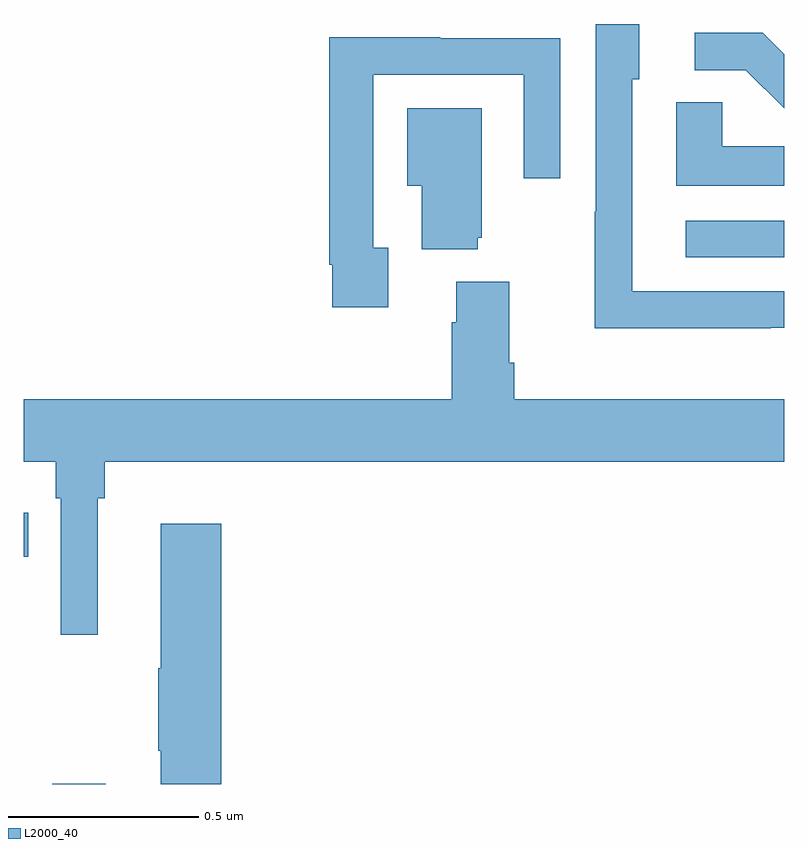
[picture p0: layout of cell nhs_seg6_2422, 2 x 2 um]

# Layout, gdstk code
import gdstk
lib = gdstk.Library(unit=1e-6, precision=1e-09)
def R(c, l, rs):  # rectangles x0, y0, x1, y1
    for r in rs: c.add(gdstk.rectangle(r[:2], r[2:], *l))
def P(c, l, *ps):  # polygons
    for p in ps: c.add(gdstk.Polygon(p, *l))
L2000_40 = (2000, 40)

nhs_seg6_2422 = lib.new_cell('nhs_seg6_2422')
R(nhs_seg6_2422, L2000_40, [(143.075,934.5,143.215,934.501), (143,935.098,143.012,935.214), (144.741,935.886,145,935.982)])
P(nhs_seg6_2422, L2000_40, [(144.965,935.7),(145,935.7),(145,935.796),(144.6,935.796),(144.6,936.354),(144.619,936.354),(144.619,936.499),(144.504,936.499),(144.504,936.005),(144.502,936.005),(144.502,935.699),(144.965,935.699)],
  [(145,936.419),(144.943,936.476),(144.765,936.476),(144.765,936.378),(144.899,936.378),(145,936.277)],
  [(143.959,935.91),(143.919,935.91),(143.919,936.366),(144.315,936.366),(144.315,936.093),(144.411,936.093),(144.411,936.462),(144.095,936.462),(144.095,936.464),(143.803,936.464),(143.803,935.866),(143.811,935.866),(143.811,935.754),(143.959,935.754)],
  [(145,936.178),(144.837,936.178),(144.837,936.293),(144.716,936.293),(144.716,936.074),(145,936.074)],
  [(144.194,935.937),(144.205,935.937),(144.205,936.277),(144.008,936.277),(144.008,936.074),(144.047,936.074),(144.047,935.906),(144.194,935.906)],
  [(143.194,935.252),(143.213,935.252),(143.213,935.348),(145,935.348),(145,935.512),(144.29,935.512),(144.29,935.608),(144.277,935.608),(144.277,935.821),(144.137,935.821),(144.137,935.714),(144.125,935.714),(144.125,935.512),(143,935.512),(143,935.348),(143.084,935.348),(143.084,935.252),(143.097,935.252),(143.097,934.893),(143.194,934.893)],
  [(143.519,935.185),(143.36,935.185),(143.36,934.805),(143.353,934.805),(143.353,934.588),(143.36,934.588),(143.36,934.5),(143.519,934.5)])

lib.write_gds('nhs_seg6_2422.gds')
